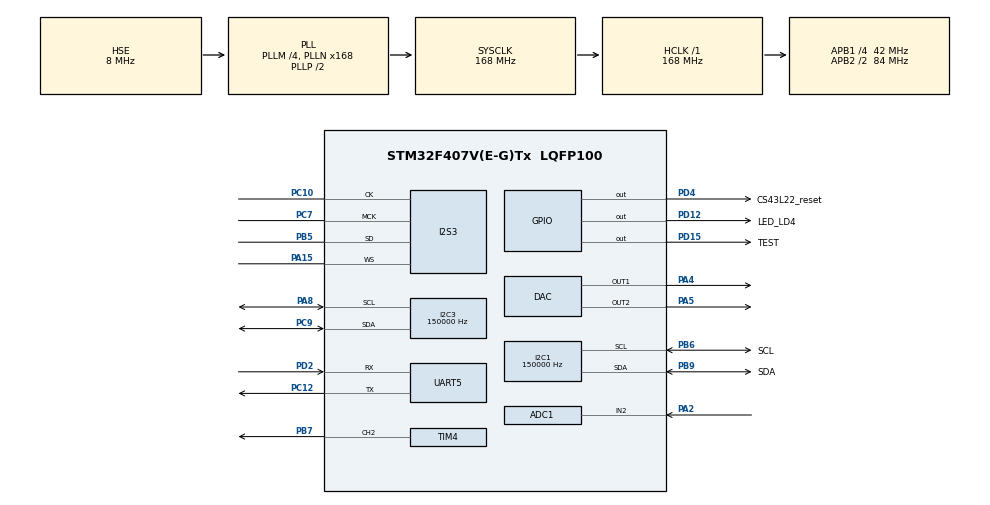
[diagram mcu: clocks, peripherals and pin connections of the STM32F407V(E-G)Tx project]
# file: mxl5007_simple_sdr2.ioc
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ADC1.Channel-2\#ChannelRegularConversion=ADC_CHANNEL_2
ADC1.DMAContinuousRequests=ENABLE
ADC1.ExternalTrigConv=ADC_EXTERNALTRIGCONV_T3_TRGO
ADC1.NbrOfConversion=1
ADC1.NbrOfConversionFlag=1
ADC1.Rank-2\#ChannelRegularConversion=1
ADC1.SamplingTime-2\#ChannelRegularConversion=ADC_SAMPLETIME_3CYCLES
ADC1.master=1
Dma.ADC1.1.Direction=DMA_PERIPH_TO_MEMORY
Dma.ADC1.1.FIFOMode=DMA_FIFOMODE_ENABLE
Dma.ADC1.1.FIFOThreshold=DMA_FIFO_THRESHOLD_HALFFULL
Dma.ADC1.1.Instance=DMA2_Stream0
Dma.ADC1.1.MemBurst=DMA_MBURST_SINGLE
Dma.ADC1.1.MemDataAlignment=DMA_MDATAALIGN_WORD
Dma.ADC1.1.MemInc=DMA_MINC_ENABLE
Dma.ADC1.1.Mode=DMA_CIRCULAR
Dma.ADC1.1.PeriphBurst=DMA_PBURST_SINGLE
Dma.ADC1.1.PeriphDataAlignment=DMA_PDATAALIGN_WORD
Dma.ADC1.1.PeriphInc=DMA_PINC_DISABLE
Dma.ADC1.1.Priority=DMA_PRIORITY_LOW
Dma.Request0=SPI3_TX
Dma.Request1=ADC1
Dma.SPI3_TX.0.Direction=DMA_MEMORY_TO_PERIPH
Dma.SPI3_TX.0.FIFOMode=DMA_FIFOMODE_ENABLE
Dma.SPI3_TX.0.FIFOThreshold=DMA_FIFO_THRESHOLD_FULL
Dma.SPI3_TX.0.Instance=DMA1_Stream5
Dma.SPI3_TX.0.MemBurst=DMA_MBURST_SINGLE
Dma.SPI3_TX.0.MemDataAlignment=DMA_MDATAALIGN_HALFWORD
Dma.SPI3_TX.0.MemInc=DMA_MINC_ENABLE
Dma.SPI3_TX.0.Mode=DMA_CIRCULAR
Dma.SPI3_TX.0.PeriphBurst=DMA_PBURST_SINGLE
Dma.SPI3_TX.0.PeriphDataAlignment=DMA_PDATAALIGN_HALFWORD
Dma.SPI3_TX.0.PeriphInc=DMA_PINC_DISABLE
Dma.SPI3_TX.0.Priority=DMA_PRIORITY_LOW
I2C1.ClockSpeed=150000
I2C1.I2C_Mode=I2C_Fast
I2C3.ClockSpeed=150000
I2C3.I2C_Mode=I2C_Fast
I2S3.AudioFreq=I2S_AUDIOFREQ_96K
I2S3.ErrorAudioFreq=-2.34 %
I2S3.FullDuplexMode=I2S_FULLDUPLEXMODE_DISABLE
I2S3.Instance=SPI$Index
I2S3.RealAudioFreq=93.75 KHz
I2S3.VirtualMode=I2S_MODE_MASTER
Mcu.Family=STM32F4
Mcu.Name=STM32F407V(E-G)Tx
Mcu.Package=LQFP100
NVIC.DMA1_Stream5_IRQn=true\:0\:0\:false\:false\:true\:false\:true\:true
NVIC.DMA2_Stream0_IRQn=true\:0\:0\:false\:false\:true\:false\:true\:true
NVIC.PriorityGroup=NVIC_PRIORITYGROUP_4
NVIC.UART5_IRQn=true\:0\:0\:false\:false\:true\:true\:true\:true
PA15.Mode=Half_Duplex_Master
PA15.Signal=I2S3_WS
PA2.Signal=ADCx_IN2
PA4.Signal=COMP_DAC1_group
PA5.Signal=COMP_DAC2_group
PA8.Mode=I2C
PA8.Signal=I2C3_SCL
PB5.Mode=Half_Duplex_Master
PB5.Signal=I2S3_SD
PB6.GPIO_Label=SCL
PB6.Mode=I2C
PB6.Signal=I2C1_SCL
PB7.Signal=S_TIM4_CH2
PB9.GPIO_Label=SDA
PB9.Mode=I2C
PB9.Signal=I2C1_SDA
PC10.Mode=Half_Duplex_Master
PC10.Signal=I2S3_CK
PC12.Mode=Asynchronous
PC12.Signal=UART5_TX
PC7.Mode=Master_Clock_Activated
PC7.Signal=I2S3_MCK
PC9.Mode=I2C
PC9.Signal=I2C3_SDA
PD12.GPIO_Label=LED_LD4
PD12.PinState=GPIO_PIN_SET
PD12.Signal=GPIO_Output
PD15.GPIO_Label=TEST
PD15.GPIO_Speed=GPIO_SPEED_FREQ_VERY_HIGH
PD15.Signal=GPIO_Output
PD2.Mode=Asynchronous
PD2.Signal=UART5_RX
PD4.GPIO_Label=CS43L22_reset
PD4.Signal=GPIO_Output
PH0-OSC_IN.Mode=HSE-External-Oscillator
PH0-OSC_IN.Signal=RCC_OSC_IN
PH1-OSC_OUT.Mode=HSE-External-Oscillator
PH1-OSC_OUT.Signal=RCC_OSC_OUT
ProjectManager.HeapSize=0x200
ProjectManager.StackSize=0x400
ProjectManager.TargetToolchain=STM32CubeIDE
RCC.48MHZClocksFreq_Value=84000000
RCC.AHBFreq_Value=168000000
RCC.APB1CLKDivider=RCC_HCLK_DIV4
RCC.APB1Freq_Value=42000000
RCC.APB1TimFreq_Value=84000000
RCC.APB2CLKDivider=RCC_HCLK_DIV2
RCC.APB2Freq_Value=84000000
RCC.APB2TimFreq_Value=168000000
RCC.CortexFreq_Value=168000000
RCC.HCLKFreq_Value=168000000
RCC.HSE_VALUE=8000000
RCC.HSI_VALUE=16000000
RCC.LSE_VALUE=32768
RCC.PLLM=4
RCC.PLLN=168
RCC.PLLSourceVirtual=RCC_PLLSOURCE_HSE
RCC.SYSCLKFreq_VALUE=168000000
RCC.SYSCLKSource=RCC_SYSCLKSOURCE_PLLCLK
RCC.VCOOutputFreq_Value=336000000
SH.ADCx_IN2.0=ADC1_IN2,IN2
SH.COMP_DAC1_group.0=DAC_OUT1,DAC_OUT1
SH.COMP_DAC2_group.0=DAC_OUT2,DAC_OUT2
SH.S_TIM4_CH2.0=TIM4_CH2,PWM Generation2 CH2
TIM3.AutoReloadPreload=TIM_AUTORELOAD_PRELOAD_ENABLE
TIM3.ClockDivision=TIM_CLOCKDIVISION_DIV1
TIM3.CounterMode=TIM_COUNTERMODE_DOWN
TIM3.Period=98
TIM3.Prescaler=0
TIM3.TIM_MasterOutputTrigger=TIM_TRGO_UPDATE
TIM4.AutoReloadPreload=TIM_AUTORELOAD_PRELOAD_ENABLE
TIM4.Channel-PWM\ Generation2\ CH2=TIM_CHANNEL_2
TIM4.Period=8191
TIM4.Prescaler=0
TIM4.Pulse-PWM\ Generation2\ CH2=0
UART5.VirtualMode=Asynchronous
VP_TIM3_VS_ClockSourceINT.Mode=Internal
VP_TIM4_VS_ClockSourceINT.Mode=Internal
board=custom

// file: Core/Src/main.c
/* USER CODE BEGIN Header */
/*
 * STM32F030 driver for R820T2
 * E. Brombaugh 02-12-2017
 * 02-08-2025 Maciej Fajfer - porting to STM32F407, modifications, improvements and Software Defined Radio code
 */
/**
  ******************************************************************************
  * @file           : main.c
  * @brief          : Main program body
  ******************************************************************************
  * @attention
  *
  * Copyright (c) 2025 STMicroelectronics.
  * All rights reserved.
  *
  * This software is licensed under terms that can be found in the LICENSE file
  * in the root directory of this software component.
  * If no LICENSE file comes with this software, it is provided AS-IS.
  *
  ******************************************************************************
  */
/* USER CODE END Header */
#include "main.h"

/* USER CODE BEGIN Includes */
#include <string.h>
#include <stdlib.h>
#include <stdio.h>
#include <math.h>
#include <stdbool.h>
#include "led.h"
#include "usart.h"
#include "printf.h"
#include "cmd.h"
#include "MY_CS43L22.h"
#include "MxL5007_Common.h"
#include "MxL5007_API.h"
#include "MxL_User_Define.h"
/* USER CODE END Includes */

ADC_HandleTypeDef hadc1;
DMA_HandleTypeDef hdma_adc1;

DAC_HandleTypeDef hdac;

I2C_HandleTypeDef hi2c1;
I2C_HandleTypeDef hi2c3;

I2S_HandleTypeDef hi2s3;
DMA_HandleTypeDef hdma_spi3_tx;

TIM_HandleTypeDef htim3;
TIM_HandleTypeDef htim4;

UART_HandleTypeDef huart5;

/* USER CODE BEGIN PV */
extern uint8_t rxchar;
int16_t dataI2S[4]; //dummy array for I2S
uint32_t v_in_samples[8]; //IF samples array for ADC

//sine, cosine and arsine look-up tables
float sine_arr[N_cos_sin];
float cosine_arr[N_cos_sin];
float asin_arr[N_asin];

MxL5007_TunerConfigS myTuner; //structure config for MxL5007T

extern Output_demod_type_enum Demod_Type;
extern float b[];
extern float a[];
/* USER CODE END PV */

void SystemClock_Config(void);
static void MX_GPIO_Init(void);
static void MX_DMA_Init(void);
static void MX_I2C1_Init(void);
static void MX_I2S3_Init(void);
static void MX_ADC1_Init(void);
static void MX_TIM3_Init(void);
static void MX_I2C3_Init(void);
static void MX_DAC_Init(void);
static void MX_UART5_Init(void);
static void MX_TIM4_Init(void);

int main(void)
{
  /* USER CODE BEGIN 1 */
	//uint8_t regs[32], reg;
	int rxchar_loc;
	uint32_t tick;
  /* USER CODE END 1 */

  /* MCU Configuration--------------------------------------------------------*/

  /* Reset of all peripherals, Initializes the Flash interface and the Systick. */
  HAL_Init();

  /* Configure the system clock */
  SystemClock_Config();

  /* Initialize all configured peripherals */
  MX_GPIO_Init();
  MX_DMA_Init();
  MX_I2C1_Init();
  MX_I2S3_Init();
  MX_ADC1_Init();
  MX_TIM3_Init();
  MX_I2C3_Init();
  MX_DAC_Init();
  MX_UART5_Init();
  MX_TIM4_Init();
  /* USER CODE BEGIN 2 */

  usart_init(&huart5);
  HAL_UART_Receive_IT(&huart5, (uint8_t*) &rxchar, 1);

  /* Startup message */
  UART_printf("\r\n");
  UART_printf("+--------------------------------------+\r\n");
  UART_printf("|     Experimental SDR receiver        |\r\n");
  UART_printf("| based on the STM32F407 and MxL5007T. |\r\n");
  UART_printf("+--------------------------------------+\r\n");

  //init MXL5007T
  myTuner.I2C_Addr = MxL_I2C_ADDR_96; //Set Tuner's I2C Address
  myTuner.Mode = MxL_MODE_DVBT;
  //myTuner.IF_Diff_Out_Level = -8; //Setting for Cable mode only
  myTuner.Xtal_Freq = MxL_XTAL_24_MHZ; //Set Tuner's XTAL freq
  myTuner.IF_Freq = MxL_IF_4_5_MHZ; //Set Tuner's IF Freq
  myTuner.ClkOut_Setting = MxL_CLKOUT_DISABLE; //Set Tuner's Clock out setting
  myTuner.ClkOut_Amp = MxL_CLKOUT_AMP_0;

  HAL_Delay(300); //Without delay after power up MxL5007 doesn't give ACK.
  MxL5007_ChipVersion MxL_ChipVersion = MxL_Check_ChipVersion(&myTuner);
  MxL_Print_ChipVersion(MxL_ChipVersion);
  if (MxL_ChipVersion == MxL_UNKNOWN_ID) MxL_TIMEOUT_UserCallback();

  MxL_ERR_MSG MxL_Status = MxL_Tuner_Init(&myTuner);
  if (MxL_Status != MxL_OK) MxL_TIMEOUT_UserCallback();

  MxL_Status = MxL_Tuner_RFTune(&myTuner, 100*MHz, MxL_BW_6MHz);
  if (MxL_Status != MxL_OK) MxL_TIMEOUT_UserCallback();

  //Check Lock Status
  bool RFSynthLock, REFSynthLock;
  MxL_Status = MxL_RFSynth_Lock_Status(&myTuner, &RFSynthLock);
  if (MxL_Status != MxL_OK) MxL_TIMEOUT_UserCallback();

  MxL_Status = MxL_REFSynth_Lock_Status(&myTuner, &REFSynthLock);
  if (MxL_Status != MxL_OK) MxL_TIMEOUT_UserCallback();

  UART_printf("rfLock=%d   refLock=%d\r\n", RFSynthLock, RFSynthLock);
  UART_printf("MxL5007T initialized.\r\n");

  HAL_TIM_PWM_Start(&htim4, TIM_CHANNEL_2); //starting PWM for IF_AGC pin voltage settings
  MxL_SetGain(75.0 - (IF_Gain + Attenuation)); //total gain 75 dB

  //init CS43L22
  CS43_Init(hi2c1, MODE_ANALOG_);
  CS43_SetVolume(CS43_default_vol); //maximum value without distortion for 3.00 Vpp from DAC is CS43_default_vol=48 for DISCOVERY BOARD
  CS43_Enable_RightLeft(CS43_RIGHT_LEFT);
  CS43_Start();
  UART_printf("CS43L22 initialized.\r\n");

  //TIM3_clk=84 MHz; ARR=98 -> FS_uint_kHz=ceil(TIM3_clk*1000/ARR)=858 kHz
  //F_IF=260 kHz after band pass sampling
  //FS_uint_kHz/F_IF=858/260=33/10 so Step_cos_sin=10 is step and after that is adding modulo N_cos_sin=33 k=mod(k+Step_cos_sin, N_cos_sin)
  float dx = 2.0*M_PI / N_cos_sin; //N_cos_sin=33 samples per sine/cosine period is enough
  uint8_t k = 0;
  for (uint8_t i=0; i<N_cos_sin; i++)
  {
	  sine_arr[i] = sinf(dx*k); //calculating look-up tables with reordering
	  cosine_arr[i] = cosf(dx*k);
	  k = (k + Step_cos_sin) % N_cos_sin; //adding modulo N_cos_sin=33 - unnecessary during real time computing so it can be replace just by counter increment
  }

  dx = 2.0 / N_asin; //step 1-(-1) / N_asin
  for (uint8_t i=0; i<N_asin; i++) asin_arr[i] = asinf(dx*i - 1.0); //calculating look-up table for arsine (needed for FM)

  set_IQ_filters_coeff(b, a, Demod_Type);

  HAL_DAC_Start(&hdac, DAC_CHANNEL_1);
  HAL_DAC_Start(&hdac, DAC_CHANNEL_2);
  HAL_I2S_Transmit_DMA(&hi2s3, (uint16_t *)dataI2S, 4); //starting I2S 16-bits dummy words sending with circular buffer just for MCLK clock for CS43L22

  HAL_TIM_Base_Start(&htim3); //starting timer for ADC triggering
  HAL_ADC_Start_DMA(&hadc1, v_in_samples, 8); //starting DMA for ADC with circular buffer

  /* USER CODE END 2 */

  /* Infinite loop */
  /* USER CODE BEGIN WHILE */
  init_cmd();
  tick = HAL_GetTick() + 100;
  while (1)
  {
    /* USER CODE END WHILE */

    /* USER CODE BEGIN 3 */

	/* UART command processing */
	if((rxchar_loc = usart_getc())!= EOF)
	{
		/* Parse commands */
		cmd_parse(rxchar_loc);
	}

	/* nonblocking wait to flash light */
	if(tick < HAL_GetTick())
	{
		  led_toggle(LED1);
		  tick = HAL_GetTick() + 100;
	}

  }
  /* USER CODE END 3 */
}

void SystemClock_Config(void)
{
  RCC_OscInitTypeDef RCC_OscInitStruct = {0};
  RCC_ClkInitTypeDef RCC_ClkInitStruct = {0};

  /** Configure the main internal regulator output voltage
  */
  __HAL_RCC_PWR_CLK_ENABLE();
  __HAL_PWR_VOLTAGESCALING_CONFIG(PWR_REGULATOR_VOLTAGE_SCALE1);

  /** Initializes the RCC Oscillators according to the specified parameters
  * in the RCC_OscInitTypeDef structure.
  */
  RCC_OscInitStruct.OscillatorType = RCC_OSCILLATORTYPE_HSE;
  RCC_OscInitStruct.HSEState = RCC_HSE_ON;
  RCC_OscInitStruct.PLL.PLLState = RCC_PLL_ON;
  RCC_OscInitStruct.PLL.PLLSource = RCC_PLLSOURCE_HSE;
  RCC_OscInitStruct.PLL.PLLM = 4;
  RCC_OscInitStruct.PLL.PLLN = 168;
  RCC_OscInitStruct.PLL.PLLP = RCC_PLLP_DIV2;
  RCC_OscInitStruct.PLL.PLLQ = 4;
  if (HAL_RCC_OscConfig(&RCC_OscInitStruct) != HAL_OK)
  {
    Error_Handler();
  }

  /** Initializes the CPU, AHB and APB buses clocks
  */
  RCC_ClkInitStruct.ClockType = RCC_CLOCKTYPE_HCLK|RCC_CLOCKTYPE_SYSCLK
                              |RCC_CLOCKTYPE_PCLK1|RCC_CLOCKTYPE_PCLK2;
  RCC_ClkInitStruct.SYSCLKSource = RCC_SYSCLKSOURCE_PLLCLK;
  RCC_ClkInitStruct.AHBCLKDivider = RCC_SYSCLK_DIV1;
  RCC_ClkInitStruct.APB1CLKDivider = RCC_HCLK_DIV4;
  RCC_ClkInitStruct.APB2CLKDivider = RCC_HCLK_DIV2;

  if (HAL_RCC_ClockConfig(&RCC_ClkInitStruct, FLASH_LATENCY_5) != HAL_OK)
  {
    Error_Handler();
  }
}

static void MX_ADC1_Init(void)
{

  ADC_ChannelConfTypeDef sConfig = {0};

  /** Configure the global features of the ADC (Clock, Resolution, Data Alignment and number of conversion)
  */
  hadc1.Instance = ADC1;
  hadc1.Init.ClockPrescaler = ADC_CLOCK_SYNC_PCLK_DIV4;
  hadc1.Init.Resolution = ADC_RESOLUTION_12B;
  hadc1.Init.ScanConvMode = DISABLE;
  hadc1.Init.ContinuousConvMode = DISABLE;
  hadc1.Init.DiscontinuousConvMode = DISABLE;
  hadc1.Init.ExternalTrigConvEdge = ADC_EXTERNALTRIGCONVEDGE_RISING;
  hadc1.Init.ExternalTrigConv = ADC_EXTERNALTRIGCONV_T3_TRGO;
  hadc1.Init.DataAlign = ADC_DATAALIGN_RIGHT;
  hadc1.Init.NbrOfConversion = 1;
  hadc1.Init.DMAContinuousRequests = ENABLE;
  hadc1.Init.EOCSelection = ADC_EOC_SINGLE_CONV;
  if (HAL_ADC_Init(&hadc1) != HAL_OK)
  {
    Error_Handler();
  }

  /** Configure for the selected ADC regular channel its corresponding rank in the sequencer and its sample time.
  */
  sConfig.Channel = ADC_CHANNEL_2;
  sConfig.Rank = 1;
  sConfig.SamplingTime = ADC_SAMPLETIME_3CYCLES;
  if (HAL_ADC_ConfigChannel(&hadc1, &sConfig) != HAL_OK)
  {
    Error_Handler();
  }

}

static void MX_DAC_Init(void)
{

  DAC_ChannelConfTypeDef sConfig = {0};

  /** DAC Initialization
  */
  hdac.Instance = DAC;
  if (HAL_DAC_Init(&hdac) != HAL_OK)
  {
    Error_Handler();
  }

  /** DAC channel OUT1 config
  */
  sConfig.DAC_Trigger = DAC_TRIGGER_NONE;
  sConfig.DAC_OutputBuffer = DAC_OUTPUTBUFFER_ENABLE;
  if (HAL_DAC_ConfigChannel(&hdac, &sConfig, DAC_CHANNEL_1) != HAL_OK)
  {
    Error_Handler();
  }

  /** DAC channel OUT2 config
  */
  if (HAL_DAC_ConfigChannel(&hdac, &sConfig, DAC_CHANNEL_2) != HAL_OK)
  {
    Error_Handler();
  }

}

static void MX_I2C1_Init(void)
{

  hi2c1.Instance = I2C1;
  hi2c1.Init.ClockSpeed = 150000;
  hi2c1.Init.DutyCycle = I2C_DUTYCYCLE_2;
  hi2c1.Init.OwnAddress1 = 0;
  hi2c1.Init.AddressingMode = I2C_ADDRESSINGMODE_7BIT;
  hi2c1.Init.DualAddressMode = I2C_DUALADDRESS_DISABLE;
  hi2c1.Init.OwnAddress2 = 0;
  hi2c1.Init.GeneralCallMode = I2C_GENERALCALL_DISABLE;
  hi2c1.Init.NoStretchMode = I2C_NOSTRETCH_DISABLE;
  if (HAL_I2C_Init(&hi2c1) != HAL_OK)
  {
    Error_Handler();
  }

}

static void MX_I2C3_Init(void)
{

  hi2c3.Instance = I2C3;
  hi2c3.Init.ClockSpeed = 150000;
  hi2c3.Init.DutyCycle = I2C_DUTYCYCLE_2;
  hi2c3.Init.OwnAddress1 = 0;
  hi2c3.Init.AddressingMode = I2C_ADDRESSINGMODE_7BIT;
  hi2c3.Init.DualAddressMode = I2C_DUALADDRESS_DISABLE;
  hi2c3.Init.OwnAddress2 = 0;
  hi2c3.Init.GeneralCallMode = I2C_GENERALCALL_DISABLE;
  hi2c3.Init.NoStretchMode = I2C_NOSTRETCH_DISABLE;
  if (HAL_I2C_Init(&hi2c3) != HAL_OK)
  {
    Error_Handler();
  }

}

static void MX_I2S3_Init(void)
{

  hi2s3.Instance = SPI3;
  hi2s3.Init.Mode = I2S_MODE_MASTER_TX;
  hi2s3.Init.Standard = I2S_STANDARD_PHILIPS;
  hi2s3.Init.DataFormat = I2S_DATAFORMAT_16B;
  hi2s3.Init.MCLKOutput = I2S_MCLKOUTPUT_ENABLE;
  hi2s3.Init.AudioFreq = I2S_AUDIOFREQ_96K;
  hi2s3.Init.CPOL = I2S_CPOL_LOW;
  hi2s3.Init.ClockSource = I2S_CLOCK_PLL;
  hi2s3.Init.FullDuplexMode = I2S_FULLDUPLEXMODE_DISABLE;
  if (HAL_I2S_Init(&hi2s3) != HAL_OK)
  {
    Error_Handler();
  }

}

static void MX_TIM3_Init(void)
{

  TIM_ClockConfigTypeDef sClockSourceConfig = {0};
  TIM_MasterConfigTypeDef sMasterConfig = {0};

  htim3.Instance = TIM3;
  htim3.Init.Prescaler = 0;
  htim3.Init.CounterMode = TIM_COUNTERMODE_DOWN;
  htim3.Init.Period = 98;
  htim3.Init.ClockDivision = TIM_CLOCKDIVISION_DIV1;
  htim3.Init.AutoReloadPreload = TIM_AUTORELOAD_PRELOAD_ENABLE;
  if (HAL_TIM_Base_Init(&htim3) != HAL_OK)
  {
    Error_Handler();
  }
  sClockSourceConfig.ClockSource = TIM_CLOCKSOURCE_INTERNAL;
  if (HAL_TIM_ConfigClockSource(&htim3, &sClockSourceConfig) != HAL_OK)
  {
    Error_Handler();
  }
  sMasterConfig.MasterOutputTrigger = TIM_TRGO_UPDATE;
  sMasterConfig.MasterSlaveMode = TIM_MASTERSLAVEMODE_DISABLE;
  if (HAL_TIMEx_MasterConfigSynchronization(&htim3, &sMasterConfig) != HAL_OK)
  {
    Error_Handler();
  }

}

static void MX_TIM4_Init(void)
{

  TIM_ClockConfigTypeDef sClockSourceConfig = {0};
  TIM_MasterConfigTypeDef sMasterConfig = {0};
  TIM_OC_InitTypeDef sConfigOC = {0};

  htim4.Instance = TIM4;
  htim4.Init.Prescaler = 0;
  htim4.Init.CounterMode = TIM_COUNTERMODE_UP;
  htim4.Init.Period = 8191;
  htim4.Init.ClockDivision = TIM_CLOCKDIVISION_DIV1;
  htim4.Init.AutoReloadPreload = TIM_AUTORELOAD_PRELOAD_ENABLE;
  if (HAL_TIM_Base_Init(&htim4) != HAL_OK)
  {
    Error_Handler();
  }
  sClockSourceConfig.ClockSource = TIM_CLOCKSOURCE_INTERNAL;
  if (HAL_TIM_ConfigClockSource(&htim4, &sClockSourceConfig) != HAL_OK)
  {
    Error_Handler();
  }
  if (HAL_TIM_PWM_Init(&htim4) != HAL_OK)
  {
    Error_Handler();
  }
  sMasterConfig.MasterOutputTrigger = TIM_TRGO_RESET;
  sMasterConfig.MasterSlaveMode = TIM_MASTERSLAVEMODE_DISABLE;
  if (HAL_TIMEx_MasterConfigSynchronization(&htim4, &sMasterConfig) != HAL_OK)
  {
    Error_Handler();
  }
  sConfigOC.OCMode = TIM_OCMODE_PWM1;
  sConfigOC.Pulse = 0;
  sConfigOC.OCPolarity = TIM_OCPOLARITY_HIGH;
  sConfigOC.OCFastMode = TIM_OCFAST_DISABLE;
  if (HAL_TIM_PWM_ConfigChannel(&htim4, &sConfigOC, TIM_CHANNEL_2) != HAL_OK)
  {
    Error_Handler();
  }
  HAL_TIM_MspPostInit(&htim4);

}

static void MX_UART5_Init(void)
{

  huart5.Instance = UART5;
  huart5.Init.BaudRate = 115200;
  huart5.Init.WordLength = UART_WORDLENGTH_8B;
  huart5.Init.StopBits = UART_STOPBITS_1;
  huart5.Init.Parity = UART_PARITY_NONE;
  huart5.Init.Mode = UART_MODE_TX_RX;
  huart5.Init.HwFlowCtl = UART_HWCONTROL_NONE;
  huart5.Init.OverSampling = UART_OVERSAMPLING_16;
  if (HAL_UART_Init(&huart5) != HAL_OK)
  {
    Error_Handler();
  }

}

static void MX_DMA_Init(void)
{

  /* DMA controller clock enable */
  __HAL_RCC_DMA1_CLK_ENABLE();
  __HAL_RCC_DMA2_CLK_ENABLE();

  /* DMA interrupt init */
  /* DMA1_Stream5_IRQn interrupt configuration */
  HAL_NVIC_SetPriority(DMA1_Stream5_IRQn, 0, 0);
  HAL_NVIC_EnableIRQ(DMA1_Stream5_IRQn);
  /* DMA2_Stream0_IRQn interrupt configuration */
  HAL_NVIC_SetPriority(DMA2_Stream0_IRQn, 0, 0);
  HAL_NVIC_EnableIRQ(DMA2_Stream0_IRQn);

}

static void MX_GPIO_Init(void)
{
  GPIO_InitTypeDef GPIO_InitStruct = {0};

  /* GPIO Ports Clock Enable */
  __HAL_RCC_GPIOH_CLK_ENABLE();
  __HAL_RCC_GPIOA_CLK_ENABLE();
  __HAL_RCC_GPIOD_CLK_ENABLE();
  __HAL_RCC_GPIOC_CLK_ENABLE();
  __HAL_RCC_GPIOB_CLK_ENABLE();

  /*Configure GPIO pin Output Level */
  HAL_GPIO_WritePin(LED_LD4_GPIO_Port, LED_LD4_Pin, GPIO_PIN_SET);

  /*Configure GPIO pin Output Level */
  HAL_GPIO_WritePin(GPIOD, TEST_Pin|CS43L22_reset_Pin, GPIO_PIN_RESET);

  /*Configure GPIO pins : LED_LD4_Pin CS43L22_reset_Pin */
  GPIO_InitStruct.Pin = LED_LD4_Pin|CS43L22_reset_Pin;
  GPIO_InitStruct.Mode = GPIO_MODE_OUTPUT_PP;
  GPIO_InitStruct.Pull = GPIO_NOPULL;
  GPIO_InitStruct.Speed = GPIO_SPEED_FREQ_LOW;
  HAL_GPIO_Init(GPIOD, &GPIO_InitStruct);

  /*Configure GPIO pin : TEST_Pin */
  GPIO_InitStruct.Pin = TEST_Pin;
  GPIO_InitStruct.Mode = GPIO_MODE_OUTPUT_PP;
  GPIO_InitStruct.Pull = GPIO_NOPULL;
  GPIO_InitStruct.Speed = GPIO_SPEED_FREQ_VERY_HIGH;
  HAL_GPIO_Init(TEST_GPIO_Port, &GPIO_InitStruct);

}

void Error_Handler(void)
{
  __disable_irq();
  while (1)
  {
  }
}
